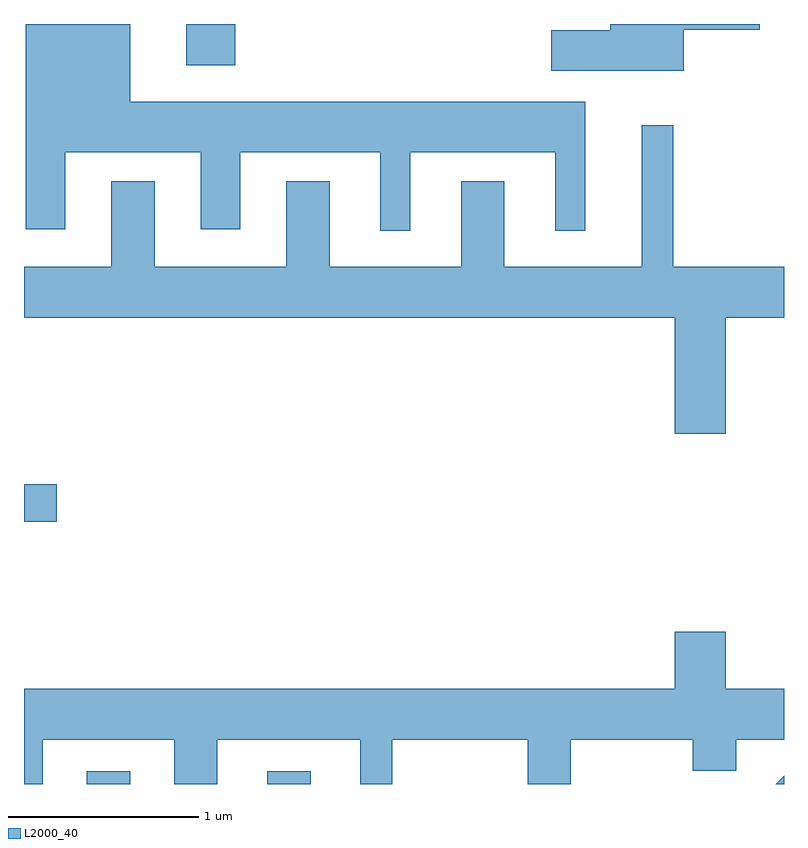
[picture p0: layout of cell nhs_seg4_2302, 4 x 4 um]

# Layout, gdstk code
import gdstk
lib = gdstk.Library(unit=1e-6, precision=1e-09)
def R(c, l, rs):  # rectangles x0, y0, x1, y1
    for r in rs: c.add(gdstk.rectangle(r[:2], r[2:], *l))
def P(c, l, *ps):  # polygons
    for p in ps: c.add(gdstk.Polygon(p, *l))
L2000_40 = (2000, 40)

nhs_seg4_2302 = lib.new_cell('nhs_seg4_2302')
R(nhs_seg4_2302, L2000_40, [(251.941,1369.982,252.169,1370.049), (252.891,1369.982,253.119,1370.049), (251.611,1371.361,251.784,1371.559), (252.466,1373.766,252.724,1373.982)])
P(nhs_seg4_2302, L2000_40, [(255.084,1373.951),(255.484,1373.951),(255.484,1373.982),(254.696,1373.982),(254.696,1373.949),(254.386,1373.949),(254.386,1373.736),(255.084,1373.736)],
  [(253.644,1373.306),(254.406,1373.306),(254.406,1372.893),(254.564,1372.893),(254.564,1373.574),(252.169,1373.574),(252.169,1373.982),(251.621,1373.982),(251.621,1372.901),(251.829,1372.901),(251.829,1373.306),(252.541,1373.306),(252.541,1372.901),(252.749,1372.901),(252.749,1373.306),(253.486,1373.306),(253.486,1372.893),(253.644,1372.893)],
  [(255.304,1372.436),(255.611,1372.436),(255.611,1372.704),(255.029,1372.704),(255.029,1373.448),(254.861,1373.448),(254.861,1372.704),(254.139,1372.704),(254.139,1373.154),(253.911,1373.154),(253.911,1372.704),(253.219,1372.704),(253.219,1373.154),(252.991,1373.154),(252.991,1372.704),(252.299,1372.704),(252.299,1373.154),(252.071,1373.154),(252.071,1372.704),(251.611,1372.704),(251.611,1372.436),(255.036,1372.436),(255.036,1371.826),(255.304,1371.826)],
  [(251.709,1370.216),(252.401,1370.216),(252.401,1369.982),(252.629,1369.982),(252.629,1370.216),(253.381,1370.216),(253.381,1369.982),(253.549,1369.982),(253.549,1370.216),(254.261,1370.216),(254.261,1369.982),(254.489,1369.982),(254.489,1370.216),(255.131,1370.216),(255.131,1370.051),(255.359,1370.051),(255.359,1370.216),(255.611,1370.216),(255.611,1370.484),(255.304,1370.484),(255.304,1370.784),(255.036,1370.784),(255.036,1370.484),(251.611,1370.484),(251.611,1369.982),(251.709,1369.982)],
  [(255.611,1370.026),(255.567,1369.982),(255.611,1369.982)])

lib.write_gds('nhs_seg4_2302.gds')
